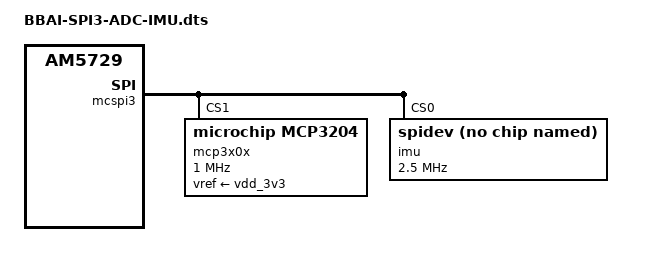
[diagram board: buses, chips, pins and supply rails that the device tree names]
/* vim: set sw=4 ts=4 noet: */
/dts-v1/;
/plugin/;

#include <dt-bindings/pinctrl/dra.h>

/ {
	compatible = "beagle,am5729-beagleboneai";

	fragment@0 {
		target = <&cape_pins>;
		__overlay__ {
			status = "disabled";
		};
	};

	fragment@1 {
		target = <&dra7_pmx_core>;
		__overlay__ {
			bbai_spi3_pins: pinmux_spi3_pins {
				pinctrl-single,pins = <
					/* A12: P9.28: mcasp1_axr11.off spi3_cs0 */
					DRA7XX_CORE_IOPAD(0x36E0, PIN_OUTPUT | MUX_MODE3)
					/* A11: P9.29a: mcasp1_axr9.off spi3_d1 */
					DRA7XX_CORE_IOPAD(0x36D8, PIN_INPUT | MUX_MODE3)
					/* D14: P9.29b: mcasp1_fsx.off off */
					DRA7XX_CORE_IOPAD(0x36A8, MUX_MODE15)
					/* B13: P9.30: mcasp1_axr10.off spi3_d0 */
					DRA7XX_CORE_IOPAD(0x36DC, PIN_OUTPUT | MUX_MODE3)
					/* B12: P9.31a: mcasp1_axr8.off spi3_sclk */
					DRA7XX_CORE_IOPAD(0x36D4, PIN_OUTPUT | MUX_MODE3)
					/* C14: P9.31b: mcasp1_aclkx.off off */
					DRA7XX_CORE_IOPAD(0x36A4, MUX_MODE15)
					/* E14: P9.42a: mcasp1_axr12.off spi3_cs1 */
					DRA7XX_CORE_IOPAD(0x36E4, MUX_MODE3)
					/* C2: P9.42b: vin2a_d13.off off*/
					DRA7XX_CORE_IOPAD(0x359C, MUX_MODE15)
				>;
			};
		};
	};

	fragment@2 {
		target = <&mcspi3>;
		__overlay__ {

			#address-cells = <1>;
			#size-cells = <0>;
			status = "okay";
			pinctrl-names = "default";
			pinctrl-0 = <&bbai_spi3_pins>;
			ti,pindir-d0-out-d1-in = <1>;

			mcp3x0x@1 {
				compatible = "microchip,mcp3204";
			    spi-max-frequency = <1000000>;
				reg = <1>;
				vref-supply = <&vdd_3v3>;
			};

			imu@0 {
			    compatible = "rohm,dh2228fv";
				spi-max-frequency = <2500000>;
				reg = <0>;
			};
		};
	};
};
